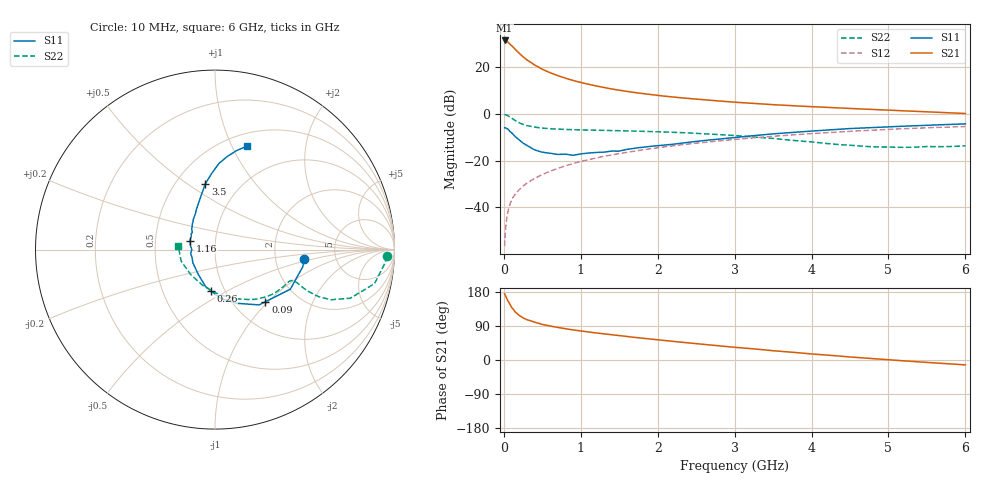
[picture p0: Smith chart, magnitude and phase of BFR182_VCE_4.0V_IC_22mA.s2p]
! Infineon Technologies  Discrete & RF Semiconductors
! BFR182
! VCE =  4.0 V,  IC =  22 mA
! Common Emitter S-Parameters:  Nov 2015
# GHz  S  MA  R  50
!  f  S11  S21  S12  S22
! GHz  MAG  ANG  MAG  ANG  MAG  ANG  MAG  ANG
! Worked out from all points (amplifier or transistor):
!   210 points, 10 MHz to 6 GHz, reference 50 ohm
!   highest |S21| = 31.2 dB at 10 MHz (marker M1)
!   |S21| within 3 dB of that: start of sweep to 124.6 MHz
!   unconditionally stable (mu >= 1): 517.7 MHz to 2.464 GHz
!   at 185 MHz: K = 0.72, MSG = 29.5 dB, |S12| = -32.9 dB
!   at 1.52 GHz: K = 1.05, MAG = 12.1 dB, |S12| = -16.9 dB
!   at 6 GHz: K = 0.90, MSG = 2.8 dB, |S12| = -5.5 dB
!   S11 on the Smith chart (normalised r, x): 10 MHz: 2.94, -0.41; 90 MHz: 1.39, -0.97; 260 MHz: 0.86, -0.42; 1.16 GHz: 0.75, +0.08; 3.5 GHz: 0.69, +0.59; 6 GHz: 0.63, +1.15
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0.01  0.5 -6.0  36.13 174.7  0.0015 93.4  0.9614 -2.2
0.02  0.4985 -11.0  35.57 170.0  0.003 89.5  0.9475 -4.9
0.05  0.4742 -27.7  33.67 156.9  0.0078 80.9  0.909 -12.0
0.09  0.4041 -46.0  29.13 143.2  0.0132 75.4  0.8212 -18.1
0.1  0.3943 -51.4  28.3 139.2  0.0145 74.7  0.8009 -19.8
0.15  0.3224 -68.1  23.12 126.1  0.0194 72.5  0.7039 -23.4
0.2  0.2756 -82.7  19.22 117.5  0.024 71.7  0.6356 -24.4
0.26  0.23 -96.1  15.71 110.2  0.0294 71.6  0.5801 -24.2
0.3  0.2117 -104.5  13.93 106.3  0.033 72.2  0.5546 -23.9
0.4  0.1689 -122.5  10.85 99.5  0.0415 73.2  0.515 -22.8
0.5  0.151 -136.5  8.789 93.8  0.0503 74.0  0.4905 -21.9
0.7  0.1351 -161.1  6.449 85.9  0.0679 74.1  0.4666 -21.8
0.8  0.1371 -170.9  5.663 82.4  0.0772 73.7  0.4599 -22.0
1.02  0.1396 169.3  4.516 76.1  0.0972 72.8  0.4487 -23.4
1.16  0.1471 160.2  4.013 72.4  0.1099 72.1  0.4434 -24.8
1.6  0.1733 138.5  2.968 61.8  0.1503 68.8  0.4282 -30.0
2.02  0.2088 125.0  2.42 52.9  0.189 65.1  0.4101 -36.3
3.1  0.321 103.2  1.708 31.9  0.2906 53.9  0.3315 -56.9
3.5  0.3702 98.4  1.55 24.5  0.3287 49.7  0.2959 -67.7
4.1  0.4353 91.4  1.379 14.5  0.3835 42.4  0.2393 -89.5
5.1  0.5312 81.5  1.169 -0.8  0.4691 29.9  0.1917 -139.2
6  0.6046 72.6  1.005 -12.9  0.5294 17.6  0.2065 174.0
